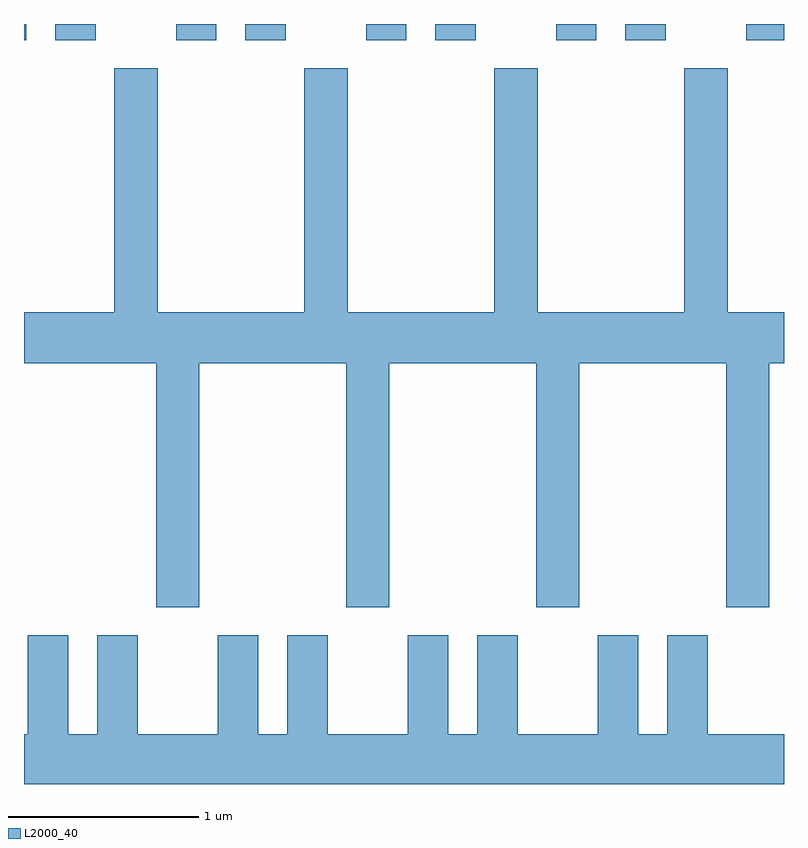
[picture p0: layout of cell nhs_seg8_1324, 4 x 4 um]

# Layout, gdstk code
import gdstk
lib = gdstk.Library(unit=1e-6, precision=1e-09)
def R(c, l, rs):  # rectangles x0, y0, x1, y1
    for r in rs: c.add(gdstk.rectangle(r[:2], r[2:], *l))
def P(c, l, *ps):  # polygons
    for p in ps: c.add(gdstk.Polygon(p, *l))
L2000_40 = (2000, 40)

nhs_seg8_1324 = lib.new_cell('nhs_seg8_1324')
R(nhs_seg8_1324, L2000_40, [(223.611,1920.256,223.624,1920.342), (223.776,1920.256,223.989,1920.342), (224.411,1920.256,224.624,1920.342), (224.776,1920.256,224.989,1920.342), (225.411,1920.256,225.624,1920.342), (225.776,1920.256,225.989,1920.342), (226.411,1920.256,226.624,1920.342), (226.776,1920.256,226.989,1920.342), (227.411,1920.256,227.611,1920.342)])
P(nhs_seg8_1324, L2000_40, [(224.534,1918.556),(225.306,1918.556),(225.306,1917.271),(225.534,1917.271),(225.534,1918.556),(226.306,1918.556),(226.306,1917.271),(226.534,1917.271),(226.534,1918.556),(227.306,1918.556),(227.306,1917.271),(227.534,1917.271),(227.534,1918.556),(227.611,1918.556),(227.611,1918.824),(227.314,1918.824),(227.314,1920.109),(227.086,1920.109),(227.086,1918.824),(226.314,1918.824),(226.314,1920.109),(226.086,1920.109),(226.086,1918.824),(225.314,1918.824),(225.314,1920.109),(225.086,1920.109),(225.086,1918.824),(224.314,1918.824),(224.314,1920.109),(224.086,1920.109),(224.086,1918.824),(223.611,1918.824),(223.611,1918.556),(224.306,1918.556),(224.306,1917.271),(224.534,1917.271)],
  [(227.611,1916.604),(227.209,1916.604),(227.209,1917.124),(226.996,1917.124),(226.996,1916.604),(226.844,1916.604),(226.844,1917.124),(226.631,1917.124),(226.631,1916.604),(226.209,1916.604),(226.209,1917.124),(225.996,1917.124),(225.996,1916.604),(225.844,1916.604),(225.844,1917.124),(225.631,1917.124),(225.631,1916.604),(225.209,1916.604),(225.209,1917.124),(224.996,1917.124),(224.996,1916.604),(224.844,1916.604),(224.844,1917.124),(224.631,1917.124),(224.631,1916.604),(224.209,1916.604),(224.209,1917.124),(223.996,1917.124),(223.996,1916.604),(223.844,1916.604),(223.844,1917.124),(223.631,1917.124),(223.631,1916.604),(223.611,1916.604),(223.611,1916.342),(227.611,1916.342)])

lib.write_gds('nhs_seg8_1324.gds')
